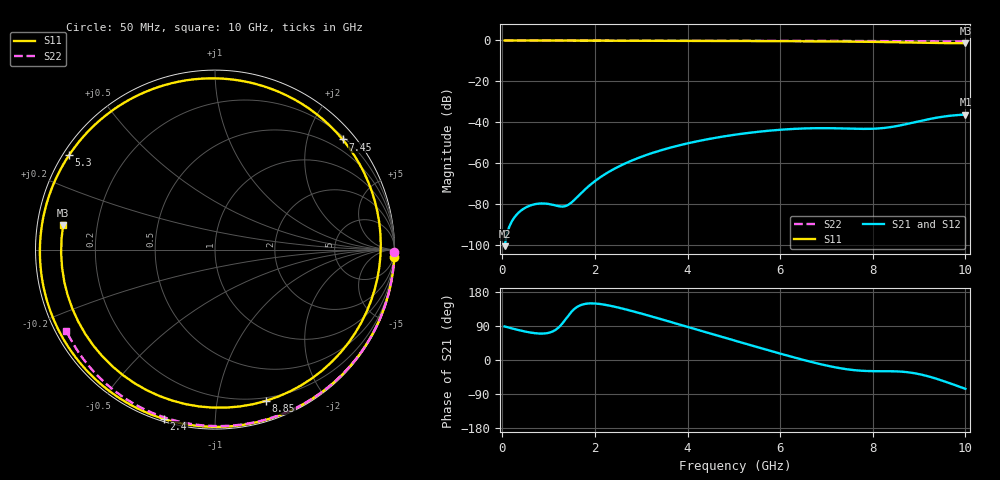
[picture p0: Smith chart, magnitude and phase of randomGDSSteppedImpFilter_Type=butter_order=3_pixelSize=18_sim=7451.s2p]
! freq	dB(S11)	phase(S11)	dB(S12)	phase(S12)
!  dB(S21)	phase(S21)	dB(S22)	phase(S22)
!S-par simulation data
#  GHz  S  DB  R 50
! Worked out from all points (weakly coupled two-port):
!   200 points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, 50 MHz to 10 GHz, reference 50 ohm
!   highest |S21| = -36.27 dB at 10 GHz (marker M1); lowest = -100.7 dB at 50 MHz (marker M2)
!   lowest |S11| = -1.3 dB at 10 GHz (marker M3), VSWR 12.98, Z = 3.88 + j3.98 ohm
!   |S11| at or under -10 dB: nowhere
!   |S22| runs from -0.5 to 0.0 dB; largest |S21 - S12| = 0
!   S11 on the Smith chart (normalised r, x): 50 MHz: 0, -47; 2.4 GHz: 0.01, -0.74; 5.3 GHz: 0.02, +0.30; 7.45 GHz: 0.26, +2.67; 8.85 GHz: 0.17, -1.38; 10 GHz: 0.08, +0.08
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0.05  -0.00 -2.4  -100.66 88.4  -100.66 88.4  -0.00 -0.9
0.7  -0.04 -33.6  -80.14 70.8  -80.14 70.8  -0.02 -12.2
1.45  -0.08 -67.7  -80.06 121.0  -80.06 121.0  -0.03 -25.0
1.75  -0.10 -80.6  -73.68 147.0  -73.68 147.0  -0.04 -30.1
2.05  -0.11 -92.9  -68.00 148.6  -68.00 148.6  -0.04 -35.1
2.4  -0.13 -106.8  -63.04 141.3  -63.04 141.3  -0.05 -41.0
3.4  -0.16 -144.0  -53.93 108.8  -53.93 108.8  -0.08 -57.2
4.25  -0.21 -174.2  -49.15 78.5  -49.15 78.5  -0.10 -70.4
5.05  -0.26 156.7  -46.04 50.1  -46.04 50.1  -0.13 -82.5
5.3  -0.28 147.1  -45.29 41.3  -45.29 41.3  -0.14 -86.2
6.1  -0.35 113.8  -43.54 13.5  -43.54 13.5  -0.17 -97.7
6.7  -0.42 84.7  -42.95 -6.0  -42.95 -6.0  -0.21 -106.2
7.1  -0.48 62.5  -42.94 -17.2  -42.94 -17.2  -0.23 -111.7
7.45  -0.54 40.8  -43.12 -24.6  -43.12 -24.6  -0.25 -116.5
7.95  -0.67 5.6  -43.24 -29.3  -43.24 -29.3  -0.29 -123.3
8.35  -0.81 -26.5  -42.52 -29.5  -42.52 -29.5  -0.33 -128.7
8.6  -0.91 -48.3  -41.54 -30.5  -41.54 -30.5  -0.35 -132.1
8.85  -1.02 -71.4  -40.30 -33.9  -40.30 -33.9  -0.37 -135.5
9.1  -1.13 -95.7  -39.03 -40.0  -39.03 -40.0  -0.40 -138.9
9.35  -1.22 -121.0  -37.90 -48.5  -37.90 -48.5  -0.43 -142.3
9.7  -1.31 -157.5  -36.77 -62.9  -36.77 -62.9  -0.47 -147.1
10  -1.34 170.9  -36.27 -76.1  -36.27 -76.1  -0.50 -151.3
